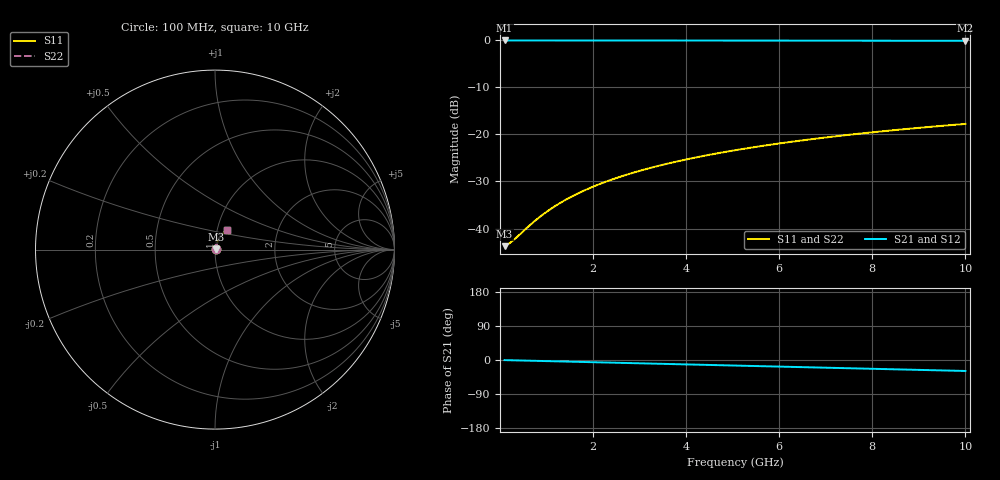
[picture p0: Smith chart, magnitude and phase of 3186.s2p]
# Hz S RI R 50.00
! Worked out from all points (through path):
!   100 points, 100 MHz to 10 GHz, reference 50 ohm
!   highest |S21| = -0.06 dB at 100 MHz (marker M1); lowest = -0.1 dB at 10 GHz (marker M2)
!   group delay of S21, straight-line fit = 8.05 ps
!   lowest |S11| = -43.7 dB at 100 MHz (marker M3), VSWR 1.01, Z = 50.6 + j0.134 ohm
!   |S11| at or under -10 dB: start of sweep to end of sweep
!   |S22| runs from -43.7 to -17.8 dB; largest |S21 - S12| = 0
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1e8  0.00637 0.00132  0.9936 -0.00504  0.9936 -0.00504  0.00637 0.00132
2e8  0.00643 0.00264  0.9935 -0.0101  0.9935 -0.0101  0.00643 0.00264
3e8  0.00649 0.00396  0.9934 -0.0151  0.9934 -0.0151  0.00649 0.00396
7e8  0.00684 0.00924  0.9928 -0.0353  0.9928 -0.0353  0.00684 0.00924
8e8  0.00695 0.0106  0.9926 -0.0403  0.9926 -0.0403  0.00695 0.0106
1e9  0.00722 0.0132  0.9921 -0.0504  0.9921 -0.0504  0.00722 0.0132
1.2e9  0.00754 0.0158  0.9914 -0.0604  0.9914 -0.0604  0.00754 0.0158
1.4e9  0.0079 0.0184  0.9907 -0.0705  0.9907 -0.0705  0.0079 0.0184
1.6e9  0.00832 0.021  0.9898 -0.0805  0.9898 -0.0805  0.00832 0.021
1.8e9  0.0088 0.0236  0.9889 -0.0905  0.9889 -0.0905  0.0088 0.0236
2.1e9  0.0096 0.0275  0.9873 -0.1055  0.9873 -0.1055  0.0096 0.0275
2.5e9  0.0109 0.0326  0.9847 -0.1255  0.9847 -0.1255  0.0109 0.0326
2.9e9  0.0123 0.0377  0.9818 -0.1454  0.9818 -0.1454  0.0123 0.0377
3.4e9  0.0144 0.0439  0.9774 -0.1702  0.9774 -0.1702  0.0144 0.0439
3.8e9  0.0163 0.0488  0.9735 -0.1899  0.9735 -0.1899  0.0163 0.0488
4.2e9  0.0184 0.0537  0.9692 -0.2095  0.9692 -0.2095  0.0184 0.0537
5.1e9  0.0239 0.0642  0.9578 -0.2532  0.9578 -0.2532  0.0239 0.0642
5.9e9  0.0295 0.0731  0.9461 -0.2915  0.9461 -0.2915  0.0295 0.0731
6.7e9  0.0358 0.0814  0.9327 -0.3292  0.9327 -0.3292  0.0358 0.0814
7.5e9  0.0428 0.0893  0.9177 -0.3662  0.9177 -0.3662  0.0428 0.0893
8.4e9  0.0513 0.0973  0.8991 -0.407  0.8991 -0.407  0.0513 0.0973
1e10  0.0682 0.1096  0.8614 -0.4768  0.8614 -0.4768  0.0682 0.1096
